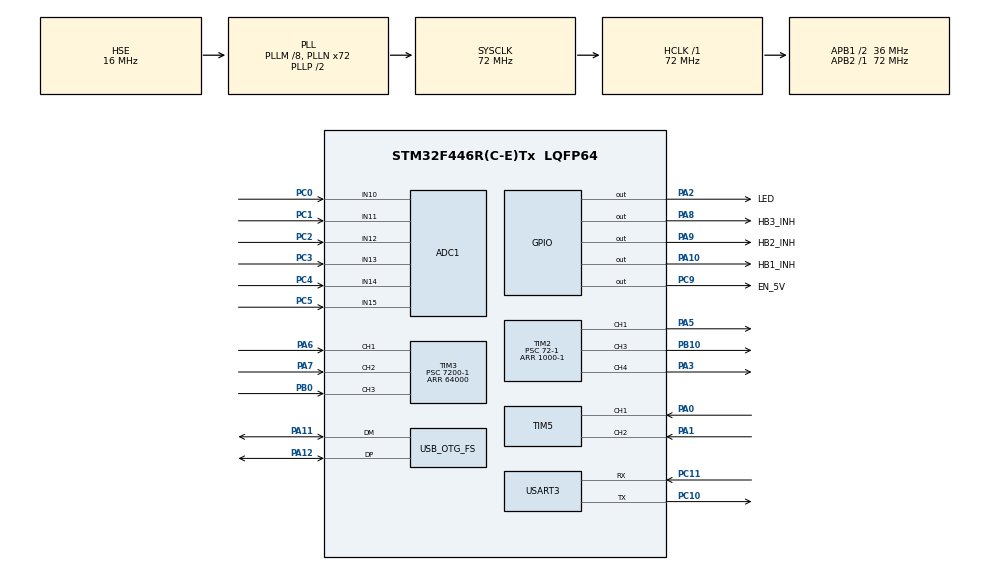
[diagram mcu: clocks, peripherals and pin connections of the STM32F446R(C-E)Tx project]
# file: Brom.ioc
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ADC1.Channel-0\#ChannelRegularConversion=ADC_CHANNEL_15
ADC1.NbrOfConversionFlag=1
ADC1.Rank-0\#ChannelRegularConversion=1
ADC1.SamplingTime-0\#ChannelRegularConversion=ADC_SAMPLETIME_3CYCLES
ADC1.master=1
Mcu.Family=STM32F4
Mcu.Name=STM32F446R(C-E)Tx
Mcu.Package=LQFP64
NVIC.OTG_FS_IRQn=true\:0\:0\:false\:false\:true\:false\:true\:true
NVIC.PriorityGroup=NVIC_PRIORITYGROUP_4
NVIC.TIM2_IRQn=true\:0\:0\:false\:false\:true\:true\:true\:true
NVIC.TIM3_IRQn=true\:0\:0\:false\:false\:true\:true\:true\:true
NVIC.TIM8_TRG_COM_TIM14_IRQn=true\:0\:0\:false\:false\:true\:true\:true\:true
PA0-WKUP.Signal=S_TIM5_CH1
PA1.Signal=S_TIM5_CH2
PA10.GPIO_Label=HB1_INH
PA10.GPIO_PuPd=GPIO_NOPULL
PA10.Signal=GPIO_Output
PA11.Mode=Device_Only
PA11.Signal=USB_OTG_FS_DM
PA12.Mode=Device_Only
PA12.Signal=USB_OTG_FS_DP
PA13.Mode=Trace_Asynchronous_SW
PA13.Signal=SYS_JTMS-SWDIO
PA14.Mode=Trace_Asynchronous_SW
PA14.Signal=SYS_JTCK-SWCLK
PA2.GPIO_Label=LED
PA2.GPIO_ModeDefaultOutputPP=GPIO_MODE_OUTPUT_PP
PA2.GPIO_PuPd=GPIO_NOPULL
PA2.GPIO_Speed=GPIO_SPEED_FREQ_VERY_HIGH
PA2.PinState=GPIO_PIN_SET
PA2.Signal=GPIO_Output
PA3.Signal=S_TIM2_CH4
PA5.Signal=S_TIM2_CH1_ETR
PA6.Signal=S_TIM3_CH1
PA7.Signal=S_TIM3_CH2
PA8.GPIO_Label=HB3_INH
PA8.Signal=GPIO_Output
PA9.GPIO_Label=HB2_INH
PA9.Signal=GPIO_Output
PB0.Signal=S_TIM3_CH3
PB10.Signal=S_TIM2_CH3
PB3.Mode=Trace_Asynchronous_SW
PB3.Signal=SYS_JTDO-SWO
PC0.Signal=ADCx_IN10
PC1.Signal=ADCx_IN11
PC10.Mode=Asynchronous
PC10.Signal=USART3_TX
PC11.Mode=Asynchronous
PC11.Signal=USART3_RX
PC2.Signal=ADCx_IN12
PC3.Signal=ADCx_IN13
PC4.Signal=ADCx_IN14
PC5.Signal=ADCx_IN15
PC9.GPIO_Label=EN_5V
PC9.GPIO_ModeDefaultOutputPP=GPIO_MODE_OUTPUT_OD
PC9.GPIO_PuPd=GPIO_PULLUP
PC9.GPIO_Speed=GPIO_SPEED_FREQ_LOW
PC9.PinState=GPIO_PIN_RESET
PC9.Signal=GPIO_Output
PH0-OSC_IN.Mode=HSE-External-Oscillator
PH0-OSC_IN.Signal=RCC_OSC_IN
PH1-OSC_OUT.Mode=HSE-External-Oscillator
PH1-OSC_OUT.Signal=RCC_OSC_OUT
ProjectManager.HeapSize=0x200
ProjectManager.StackSize=0x400
ProjectManager.TargetToolchain=STM32CubeIDE
RCC.AHBFreq_Value=72000000
RCC.APB1CLKDivider=RCC_HCLK_DIV2
RCC.APB1Freq_Value=36000000
RCC.APB1TimFreq_Value=72000000
RCC.APB2Freq_Value=72000000
RCC.APB2TimFreq_Value=72000000
RCC.CortexFreq_Value=72000000
RCC.HCLKFreq_Value=72000000
RCC.HSE_VALUE=16000000
RCC.PLLM=8
RCC.PLLN=72
RCC.PLLQ=3
RCC.PLLSourceVirtual=RCC_PLLSOURCE_HSE
RCC.SYSCLKFreq_VALUE=72000000
RCC.SYSCLKSource=RCC_SYSCLKSOURCE_PLLCLK
RCC.USBFreq_Value=48000000
RCC.VCOOutputFreq_Value=144000000
SH.ADCx_IN10.0=ADC1_IN10,IN10
SH.ADCx_IN11.0=ADC1_IN11,IN11
SH.ADCx_IN12.0=ADC1_IN12,IN12
SH.ADCx_IN13.0=ADC1_IN13,IN13
SH.ADCx_IN14.0=ADC1_IN14,IN14
SH.ADCx_IN15.0=ADC1_IN15,IN15
SH.S_TIM2_CH1_ETR.0=TIM2_CH1,PWM Generation1 CH1
SH.S_TIM2_CH3.0=TIM2_CH3,PWM Generation3 CH3
SH.S_TIM2_CH4.0=TIM2_CH4,PWM Generation4 CH4
SH.S_TIM3_CH1.0=TIM3_CH1,Input_Capture1_from_TI1
SH.S_TIM3_CH2.0=TIM3_CH2,Input_Capture2_from_TI2
SH.S_TIM3_CH3.0=TIM3_CH3,Input_Capture3_from_TI3
SH.S_TIM5_CH1.0=TIM5_CH1,Input_Capture1_from_TI1
SH.S_TIM5_CH2.0=TIM5_CH2,Input_Capture2_from_TI2
TIM14.Channel=TIM_CHANNEL_1
TIM2.Channel-PWM\ Generation1\ CH1=TIM_CHANNEL_1
TIM2.Channel-PWM\ Generation2\ No\ Output=TIM_CHANNEL_2
TIM2.Channel-PWM\ Generation3\ CH3=TIM_CHANNEL_3
TIM2.Channel-PWM\ Generation4\ CH4=TIM_CHANNEL_4
TIM2.Period=1000-1
TIM2.Prescaler=72-1
TIM2.Pulse-PWM\ Generation1\ CH1=500
TIM2.Pulse-PWM\ Generation2\ No\ Output=500
TIM2.Pulse-PWM\ Generation3\ CH3=500
TIM2.Pulse-PWM\ Generation4\ CH4=500
TIM3.AutoReloadPreload=TIM_AUTORELOAD_PRELOAD_ENABLE
TIM3.Channel-Input_Capture1_from_TI1=TIM_CHANNEL_1
TIM3.Channel-Input_Capture2_from_TI2=TIM_CHANNEL_2
TIM3.Channel-Input_Capture3_from_TI3=TIM_CHANNEL_3
TIM3.Period=64000
TIM3.Prescaler=7200-1
TIM3.TIM_MasterOutputTrigger=TIM_TRGO_OC2REF
TIM5.Channel-Input_Capture1_from_TI1=TIM_CHANNEL_1
TIM5.Channel-Input_Capture2_from_TI2=TIM_CHANNEL_2
USART3.VirtualMode=VM_ASYNC
USB_DEVICE.CLASS_NAME_FS=CDC
USB_DEVICE.VirtualMode-CDC_FS=Cdc
USB_DEVICE.VirtualModeFS=Cdc_FS
USB_OTG_FS.VirtualMode=Device_Only
VP_TIM14_VS_ClockSourceINT.Mode=Enable_Timer
VP_TIM14_VS_no_output1.Mode=PWM Generation1 No Output
VP_TIM2_VS_ClockSourceINT.Mode=Internal
VP_TIM2_VS_no_output2.Mode=PWM Generation2 No Output
VP_TIM3_VS_ClockSourceINT.Mode=Internal
VP_TIM5_VS_ClockSourceINT.Mode=Internal
VP_USB_DEVICE_VS_USB_DEVICE_CDC_FS.Mode=CDC_FS
board=custom

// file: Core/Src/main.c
/* USER CODE BEGIN Header */
/**
  ******************************************************************************
  * @file           : main.c
  * @brief          : Main program body
  ******************************************************************************
  * @attention
  *
  * <h2><center>&copy; Copyright (c) 2021 STMicroelectronics.
  * All rights reserved.</center></h2>
  *
  * This software component is licensed by ST under BSD 3-Clause license,
  * the "License"; You may not use this file except in compliance with the
  * License. You may obtain a copy of the License at:
  *                        opensource.org/licenses/BSD-3-Clause
  *
  ******************************************************************************
  */
/* USER CODE END Header */
#include "main.h"
#include "usb_device.h"

/* USER CODE BEGIN Includes */
#include "usbd_cdc_if.h"
#include "string.h"
#include "stdio.h"
#include "time.h"
#include "stdlib.h"
#include "measurement.h"
#include "control_state_machine.h"
#include "globals.h"

/* USER CODE END Includes */

ADC_HandleTypeDef hadc1;

TIM_HandleTypeDef htim2;
TIM_HandleTypeDef htim3;
TIM_HandleTypeDef htim5;
TIM_HandleTypeDef htim14;

UART_HandleTypeDef huart3;

/* USER CODE BEGIN PV */
int ramp_up(int duty_cycle, int counter, int count_max,int gain);

/* USER CODE END PV */

void SystemClock_Config(void);
static void MX_GPIO_Init(void);
static void MX_TIM2_Init(void);
static void MX_TIM3_Init(void);
static void MX_ADC1_Init(void);
static void MX_TIM5_Init(void);
static void MX_USART3_UART_Init(void);
static void MX_TIM14_Init(void);

/* USER CODE BEGIN 0 */
bool control_flag = FALSE;

/* USER CODE END 0 */

int main(void)
{
  /* USER CODE BEGIN 1 */
	controlStateMachine.currentState = off;
	inverter.EN_5V = FALSE;

	inverter.PhaseA.gpioPin_pha_enable.pinNUmber = HB1_INH_Pin;
	inverter.PhaseA.gpioPin_pha_enable.port = HB1_INH_GPIO_Port;
	strcpy(inverter.PhaseA.name,"PhaseA");

	inverter.PhaseB.gpioPin_pha_enable.pinNUmber = HB2_INH_Pin;
	inverter.PhaseB.gpioPin_pha_enable.port = HB2_INH_GPIO_Port;
	strcpy(inverter.PhaseB.name,"PhaseB");

	inverter.PhaseC.gpioPin_pha_enable.pinNUmber = HB3_INH_Pin;
	inverter.PhaseC.gpioPin_pha_enable.port = HB3_INH_GPIO_Port;
	strcpy(inverter.PhaseC.name,"PhaseC");

  /* USER CODE END 1 */

  /* MCU Configuration--------------------------------------------------------*/

  /* Reset of all peripherals, Initializes the Flash interface and the Systick. */
  HAL_Init();

  /* Configure the system clock */
  SystemClock_Config();

  /* Initialize all configured peripherals */
  MX_GPIO_Init();
  MX_TIM2_Init();
  MX_TIM3_Init();
  MX_ADC1_Init();
  MX_TIM5_Init();
  MX_USART3_UART_Init();
  MX_USB_DEVICE_Init();
  MX_TIM14_Init();
  /* USER CODE BEGIN 2 */

  // STart timer
  srand(time(NULL));

  HAL_TIM_PWM_Start(&htim2, TIM_CHANNEL_3);
  HAL_TIM_PWM_Start(&htim2, TIM_CHANNEL_1);
  HAL_TIM_PWM_Start(&htim2, TIM_CHANNEL_4);
  HAL_TIM_PWM_Start_IT(&htim2, TIM_CHANNEL_2);
 // HAL_TIM_PWM_Start_IT(&htim2, TIM_CHANNEL_3);
  //HAL_TIM_OC_Start(&htim2, TIM_CHANNEL_3);
  /*
  HAL_TIM_PWM_Start(&htim2, TIM_CHANNEL_1);
  HAL_TIM_PWM_Start_IT(&htim2, TIM_CHANNEL_1);
  HAL_TIM_OC_Start(&htim2, TIM_CHANNEL_2);

  HAL_TIM_PWM_Start(&htim2, TIM_CHANNEL_2);
  HAL_TIM_PWM_Start_IT(&htim2, TIM_CHANNEL_2);
  HAL_TIM_OC_Start(&htim2, TIM_CHANNEL_2);

  HAL_TIM_PWM_Start(&htim2, TIM_CHANNEL_4);
  HAL_TIM_PWM_Start_IT(&htim2, TIM_CHANNEL_4);
  HAL_TIM_OC_Start(&htim2, TIM_CHANNEL_4);

  HAL_TIM_IC_Start_IT(&htim3, TIM_CHANNEL_1);
  */
  char result[100];
  /* USER CODE END 2 */

  /* Infinite loop */
  while (1)
  {

    /* USER CODE BEGIN 3 */

	  if (controlState == controlStateMachine.currentState)
	  {

	  } else {
		  transitionToState(&controlStateMachine, controlState);

	  }
	  if (!control_enabled && control_flag ){
		  __HAL_TIM_SET_COMPARE(&htim2,TIM_CHANNEL_1,0);
		  __HAL_TIM_SET_COMPARE(&htim2,TIM_CHANNEL_3,0);
		  __HAL_TIM_SET_COMPARE(&htim2,TIM_CHANNEL_4,0);
		  transitionphaMode(FALSE,inverter.PhaseA);
		  transitionphaMode(FALSE,inverter.PhaseB);
		  transitionphaMode(FALSE,inverter.PhaseC);

		  char dataToSend[] = "CONTROL DISABLED!\r\n";
		  snprintf(result, sizeof(result),"%s",dataToSend);
		  CDC_Transmit_FS((uint8_t *)result,strlen(result));

		  control_flag = FALSE;
	  }

	  if (init){
		  initInverter(inverter);
	  }
	  HAL_Delay(1000);
	  HAL_GPIO_TogglePin(LED_GPIO_Port, LED_Pin);

  }
  /* USER CODE END 3 */
}

void SystemClock_Config(void)
{
  RCC_OscInitTypeDef RCC_OscInitStruct = {0};
  RCC_ClkInitTypeDef RCC_ClkInitStruct = {0};

  /** Configure the main internal regulator output voltage
  */
  __HAL_RCC_PWR_CLK_ENABLE();
  __HAL_PWR_VOLTAGESCALING_CONFIG(PWR_REGULATOR_VOLTAGE_SCALE3);

  /** Initializes the RCC Oscillators according to the specified parameters
  * in the RCC_OscInitTypeDef structure.
  */
  RCC_OscInitStruct.OscillatorType = RCC_OSCILLATORTYPE_HSE;
  RCC_OscInitStruct.HSEState = RCC_HSE_ON;
  RCC_OscInitStruct.PLL.PLLState = RCC_PLL_ON;
  RCC_OscInitStruct.PLL.PLLSource = RCC_PLLSOURCE_HSE;
  RCC_OscInitStruct.PLL.PLLM = 8;
  RCC_OscInitStruct.PLL.PLLN = 72;
  RCC_OscInitStruct.PLL.PLLP = RCC_PLLP_DIV2;
  RCC_OscInitStruct.PLL.PLLQ = 3;
  RCC_OscInitStruct.PLL.PLLR = 2;
  if (HAL_RCC_OscConfig(&RCC_OscInitStruct) != HAL_OK)
  {
    Error_Handler();
  }

  /** Initializes the CPU, AHB and APB buses clocks
  */
  RCC_ClkInitStruct.ClockType = RCC_CLOCKTYPE_HCLK|RCC_CLOCKTYPE_SYSCLK
                              |RCC_CLOCKTYPE_PCLK1|RCC_CLOCKTYPE_PCLK2;
  RCC_ClkInitStruct.SYSCLKSource = RCC_SYSCLKSOURCE_PLLCLK;
  RCC_ClkInitStruct.AHBCLKDivider = RCC_SYSCLK_DIV1;
  RCC_ClkInitStruct.APB1CLKDivider = RCC_HCLK_DIV2;
  RCC_ClkInitStruct.APB2CLKDivider = RCC_HCLK_DIV1;

  if (HAL_RCC_ClockConfig(&RCC_ClkInitStruct, FLASH_LATENCY_2) != HAL_OK)
  {
    Error_Handler();
  }
}

static void MX_ADC1_Init(void)
{

  ADC_ChannelConfTypeDef sConfig = {0};

  /** Configure the global features of the ADC (Clock, Resolution, Data Alignment and number of conversion)
  */
  hadc1.Instance = ADC1;
  hadc1.Init.ClockPrescaler = ADC_CLOCK_SYNC_PCLK_DIV2;
  hadc1.Init.Resolution = ADC_RESOLUTION_12B;
  hadc1.Init.ScanConvMode = DISABLE;
  hadc1.Init.ContinuousConvMode = DISABLE;
  hadc1.Init.DiscontinuousConvMode = DISABLE;
  hadc1.Init.ExternalTrigConvEdge = ADC_EXTERNALTRIGCONVEDGE_NONE;
  hadc1.Init.ExternalTrigConv = ADC_SOFTWARE_START;
  hadc1.Init.DataAlign = ADC_DATAALIGN_RIGHT;
  hadc1.Init.NbrOfConversion = 1;
  hadc1.Init.DMAContinuousRequests = DISABLE;
  hadc1.Init.EOCSelection = ADC_EOC_SINGLE_CONV;
  if (HAL_ADC_Init(&hadc1) != HAL_OK)
  {
    Error_Handler();
  }

  /** Configure for the selected ADC regular channel its corresponding rank in the sequencer and its sample time.
  */
  sConfig.Channel = ADC_CHANNEL_15;
  sConfig.Rank = 1;
  sConfig.SamplingTime = ADC_SAMPLETIME_3CYCLES;
  if (HAL_ADC_ConfigChannel(&hadc1, &sConfig) != HAL_OK)
  {
    Error_Handler();
  }

}

static void MX_TIM2_Init(void)
{

  TIM_ClockConfigTypeDef sClockSourceConfig = {0};
  TIM_MasterConfigTypeDef sMasterConfig = {0};
  TIM_OC_InitTypeDef sConfigOC = {0};

  htim2.Instance = TIM2;
  htim2.Init.Prescaler = 72-1;
  htim2.Init.CounterMode = TIM_COUNTERMODE_UP;
  htim2.Init.Period = 1000-1;
  htim2.Init.ClockDivision = TIM_CLOCKDIVISION_DIV1;
  htim2.Init.AutoReloadPreload = TIM_AUTORELOAD_PRELOAD_DISABLE;
  if (HAL_TIM_Base_Init(&htim2) != HAL_OK)
  {
    Error_Handler();
  }
  sClockSourceConfig.ClockSource = TIM_CLOCKSOURCE_INTERNAL;
  if (HAL_TIM_ConfigClockSource(&htim2, &sClockSourceConfig) != HAL_OK)
  {
    Error_Handler();
  }
  if (HAL_TIM_PWM_Init(&htim2) != HAL_OK)
  {
    Error_Handler();
  }
  sMasterConfig.MasterOutputTrigger = TIM_TRGO_RESET;
  sMasterConfig.MasterSlaveMode = TIM_MASTERSLAVEMODE_DISABLE;
  if (HAL_TIMEx_MasterConfigSynchronization(&htim2, &sMasterConfig) != HAL_OK)
  {
    Error_Handler();
  }
  sConfigOC.OCMode = TIM_OCMODE_PWM1;
  sConfigOC.Pulse = 500;
  sConfigOC.OCPolarity = TIM_OCPOLARITY_HIGH;
  sConfigOC.OCFastMode = TIM_OCFAST_DISABLE;
  if (HAL_TIM_PWM_ConfigChannel(&htim2, &sConfigOC, TIM_CHANNEL_1) != HAL_OK)
  {
    Error_Handler();
  }
  if (HAL_TIM_PWM_ConfigChannel(&htim2, &sConfigOC, TIM_CHANNEL_2) != HAL_OK)
  {
    Error_Handler();
  }
  if (HAL_TIM_PWM_ConfigChannel(&htim2, &sConfigOC, TIM_CHANNEL_3) != HAL_OK)
  {
    Error_Handler();
  }
  if (HAL_TIM_PWM_ConfigChannel(&htim2, &sConfigOC, TIM_CHANNEL_4) != HAL_OK)
  {
    Error_Handler();
  }
  HAL_TIM_MspPostInit(&htim2);

}

static void MX_TIM3_Init(void)
{

  TIM_ClockConfigTypeDef sClockSourceConfig = {0};
  TIM_MasterConfigTypeDef sMasterConfig = {0};
  TIM_IC_InitTypeDef sConfigIC = {0};

  htim3.Instance = TIM3;
  htim3.Init.Prescaler = 7200-1;
  htim3.Init.CounterMode = TIM_COUNTERMODE_UP;
  htim3.Init.Period = 64000;
  htim3.Init.ClockDivision = TIM_CLOCKDIVISION_DIV1;
  htim3.Init.AutoReloadPreload = TIM_AUTORELOAD_PRELOAD_ENABLE;
  if (HAL_TIM_Base_Init(&htim3) != HAL_OK)
  {
    Error_Handler();
  }
  sClockSourceConfig.ClockSource = TIM_CLOCKSOURCE_INTERNAL;
  if (HAL_TIM_ConfigClockSource(&htim3, &sClockSourceConfig) != HAL_OK)
  {
    Error_Handler();
  }
  if (HAL_TIM_IC_Init(&htim3) != HAL_OK)
  {
    Error_Handler();
  }
  sMasterConfig.MasterOutputTrigger = TIM_TRGO_OC2REF;
  sMasterConfig.MasterSlaveMode = TIM_MASTERSLAVEMODE_DISABLE;
  if (HAL_TIMEx_MasterConfigSynchronization(&htim3, &sMasterConfig) != HAL_OK)
  {
    Error_Handler();
  }
  sConfigIC.ICPolarity = TIM_INPUTCHANNELPOLARITY_RISING;
  sConfigIC.ICSelection = TIM_ICSELECTION_DIRECTTI;
  sConfigIC.ICPrescaler = TIM_ICPSC_DIV1;
  sConfigIC.ICFilter = 0;
  if (HAL_TIM_IC_ConfigChannel(&htim3, &sConfigIC, TIM_CHANNEL_1) != HAL_OK)
  {
    Error_Handler();
  }
  if (HAL_TIM_IC_ConfigChannel(&htim3, &sConfigIC, TIM_CHANNEL_2) != HAL_OK)
  {
    Error_Handler();
  }
  if (HAL_TIM_IC_ConfigChannel(&htim3, &sConfigIC, TIM_CHANNEL_3) != HAL_OK)
  {
    Error_Handler();
  }

}

static void MX_TIM5_Init(void)
{

  TIM_ClockConfigTypeDef sClockSourceConfig = {0};
  TIM_MasterConfigTypeDef sMasterConfig = {0};
  TIM_IC_InitTypeDef sConfigIC = {0};

  htim5.Instance = TIM5;
  htim5.Init.Prescaler = 0;
  htim5.Init.CounterMode = TIM_COUNTERMODE_UP;
  htim5.Init.Period = 4294967295;
  htim5.Init.ClockDivision = TIM_CLOCKDIVISION_DIV1;
  htim5.Init.AutoReloadPreload = TIM_AUTORELOAD_PRELOAD_DISABLE;
  if (HAL_TIM_Base_Init(&htim5) != HAL_OK)
  {
    Error_Handler();
  }
  sClockSourceConfig.ClockSource = TIM_CLOCKSOURCE_INTERNAL;
  if (HAL_TIM_ConfigClockSource(&htim5, &sClockSourceConfig) != HAL_OK)
  {
    Error_Handler();
  }
  if (HAL_TIM_IC_Init(&htim5) != HAL_OK)
  {
    Error_Handler();
  }
  sMasterConfig.MasterOutputTrigger = TIM_TRGO_RESET;
  sMasterConfig.MasterSlaveMode = TIM_MASTERSLAVEMODE_DISABLE;
  if (HAL_TIMEx_MasterConfigSynchronization(&htim5, &sMasterConfig) != HAL_OK)
  {
    Error_Handler();
  }
  sConfigIC.ICPolarity = TIM_INPUTCHANNELPOLARITY_RISING;
  sConfigIC.ICSelection = TIM_ICSELECTION_DIRECTTI;
  sConfigIC.ICPrescaler = TIM_ICPSC_DIV1;
  sConfigIC.ICFilter = 0;
  if (HAL_TIM_IC_ConfigChannel(&htim5, &sConfigIC, TIM_CHANNEL_1) != HAL_OK)
  {
    Error_Handler();
  }
  if (HAL_TIM_IC_ConfigChannel(&htim5, &sConfigIC, TIM_CHANNEL_2) != HAL_OK)
  {
    Error_Handler();
  }

}

static void MX_TIM14_Init(void)
{

  TIM_OC_InitTypeDef sConfigOC = {0};

  htim14.Instance = TIM14;
  htim14.Init.Prescaler = 0;
  htim14.Init.CounterMode = TIM_COUNTERMODE_UP;
  htim14.Init.Period = 65535;
  htim14.Init.ClockDivision = TIM_CLOCKDIVISION_DIV1;
  htim14.Init.AutoReloadPreload = TIM_AUTORELOAD_PRELOAD_DISABLE;
  if (HAL_TIM_Base_Init(&htim14) != HAL_OK)
  {
    Error_Handler();
  }
  if (HAL_TIM_PWM_Init(&htim14) != HAL_OK)
  {
    Error_Handler();
  }
  sConfigOC.OCMode = TIM_OCMODE_PWM1;
  sConfigOC.Pulse = 0;
  sConfigOC.OCPolarity = TIM_OCPOLARITY_HIGH;
  sConfigOC.OCFastMode = TIM_OCFAST_DISABLE;
  if (HAL_TIM_PWM_ConfigChannel(&htim14, &sConfigOC, TIM_CHANNEL_1) != HAL_OK)
  {
    Error_Handler();
  }

}

static void MX_USART3_UART_Init(void)
{

  huart3.Instance = USART3;
  huart3.Init.BaudRate = 115200;
  huart3.Init.WordLength = UART_WORDLENGTH_8B;
  huart3.Init.StopBits = UART_STOPBITS_1;
  huart3.Init.Parity = UART_PARITY_NONE;
  huart3.Init.Mode = UART_MODE_TX_RX;
  huart3.Init.HwFlowCtl = UART_HWCONTROL_NONE;
  huart3.Init.OverSampling = UART_OVERSAMPLING_16;
  if (HAL_UART_Init(&huart3) != HAL_OK)
  {
    Error_Handler();
  }

}

static void MX_GPIO_Init(void)
{
  GPIO_InitTypeDef GPIO_InitStruct = {0};

  /* GPIO Ports Clock Enable */
  __HAL_RCC_GPIOH_CLK_ENABLE();
  __HAL_RCC_GPIOC_CLK_ENABLE();
  __HAL_RCC_GPIOA_CLK_ENABLE();
  __HAL_RCC_GPIOB_CLK_ENABLE();

  /*Configure GPIO pin Output Level */
  HAL_GPIO_WritePin(LED_GPIO_Port, LED_Pin, GPIO_PIN_SET);

  /*Configure GPIO pin Output Level */
  HAL_GPIO_WritePin(EN_5V_GPIO_Port, EN_5V_Pin, GPIO_PIN_RESET);

  /*Configure GPIO pin Output Level */
  HAL_GPIO_WritePin(GPIOA, HB3_INH_Pin|HB2_INH_Pin|HB1_INH_Pin, GPIO_PIN_RESET);

  /*Configure GPIO pin : LED_Pin */
  GPIO_InitStruct.Pin = LED_Pin;
  GPIO_InitStruct.Mode = GPIO_MODE_OUTPUT_PP;
  GPIO_InitStruct.Pull = GPIO_NOPULL;
  GPIO_InitStruct.Speed = GPIO_SPEED_FREQ_VERY_HIGH;
  HAL_GPIO_Init(LED_GPIO_Port, &GPIO_InitStruct);

  /*Configure GPIO pin : EN_5V_Pin */
  GPIO_InitStruct.Pin = EN_5V_Pin;
  GPIO_InitStruct.Mode = GPIO_MODE_OUTPUT_OD;
  GPIO_InitStruct.Pull = GPIO_PULLUP;
  GPIO_InitStruct.Speed = GPIO_SPEED_FREQ_LOW;
  HAL_GPIO_Init(EN_5V_GPIO_Port, &GPIO_InitStruct);

  /*Configure GPIO pins : HB3_INH_Pin HB2_INH_Pin HB1_INH_Pin */
  GPIO_InitStruct.Pin = HB3_INH_Pin|HB2_INH_Pin|HB1_INH_Pin;
  GPIO_InitStruct.Mode = GPIO_MODE_OUTPUT_PP;
  GPIO_InitStruct.Pull = GPIO_NOPULL;
  GPIO_InitStruct.Speed = GPIO_SPEED_FREQ_LOW;
  HAL_GPIO_Init(GPIOA, &GPIO_InitStruct);

}

/* USER CODE BEGIN 4 */

void HAL_TIM_PWM_PulseFinishedCallback(TIM_HandleTypeDef *htim)
{

	if(htim->Instance == TIM2){
		if (control_enabled){
			control();

		}
	}
	/*int duty_cycle = 10;
	if (htim == &htim2)
	{
		duty_cycle = __HAL_TIM_GET_COMPARE(&htim2,TIM_CHANNEL_1);

		if (duty_cycle < 2400-1-10)
		{
			duty_cycle = duty_cycle +1;
		}else
		{
			duty_cycle = 10;
		}

		//__HAL_TIM_SET_COMPARE(&htim2,TIM_CHANNEL_1,r);
		__HAL_TIM_SET_COMPARE(&htim2,TIM_CHANNEL_1,duty_cycle);
	}
*/
}
void HAL_TIM_IC_CaptureHalfCpltCallback(TIM_HandleTypeDef *htim)
{

}

void HAL_TIM_PeriodElapsedCallback(TIM_HandleTypeDef *htim)
{
	if(htim->Instance == TIM2){
		//scontrol();
	}

}

int ramp_up(int duty_cycle, int counter,int count_max,int gain){
	int calc = 0;
	if (counter <= (int)(count_max/2)){
		calc= 2*gain*counter + (duty_cycle-(gain*count_max));

	}else{
		calc= -2*gain*counter + (duty_cycle+(gain*count_max));
	}

	return calc;
}
void control(void){
	int duty_cycle = 200;
	int max_count = 25;
	int gain = 1;
	if (step == 1){
		transitionphaMode(TRUE,inverter.PhaseA);
		transitionphaMode(FALSE,inverter.PhaseB);
		transitionphaMode(TRUE,inverter.PhaseC);
		__HAL_TIM_SET_COMPARE(&htim2,TIM_CHANNEL_4,0);
		__HAL_TIM_SET_COMPARE(&htim2,TIM_CHANNEL_1,0);
		__HAL_TIM_SET_COMPARE(&htim2,TIM_CHANNEL_3,ramp_up(duty_cycle,counter,max_count,gain));
	}
	if (step == 2){
		transitionphaMode(FALSE,inverter.PhaseA);
		transitionphaMode(TRUE,inverter.PhaseB);
		transitionphaMode(TRUE,inverter.PhaseC);
		__HAL_TIM_SET_COMPARE(&htim2,TIM_CHANNEL_3,0);
		__HAL_TIM_SET_COMPARE(&htim2,TIM_CHANNEL_4,0);
		__HAL_TIM_SET_COMPARE(&htim2,TIM_CHANNEL_1,ramp_up(duty_cycle,counter,max_count,gain));
	}
	if (step == 3){
		transitionphaMode(TRUE,inverter.PhaseA);
		transitionphaMode(TRUE,inverter.PhaseB);
		transitionphaMode(FALSE,inverter.PhaseC);
		__HAL_TIM_SET_COMPARE(&htim2,TIM_CHANNEL_1,ramp_up(duty_cycle,counter,max_count,gain));
		__HAL_TIM_SET_COMPARE(&htim2,TIM_CHANNEL_3,0);
		__HAL_TIM_SET_COMPARE(&htim2,TIM_CHANNEL_4,0);
	}
	if (step == 4){
		transitionphaMode(TRUE,inverter.PhaseA);
		transitionphaMode(FALSE,inverter.PhaseB);
		transitionphaMode(TRUE,inverter.PhaseC);
		__HAL_TIM_SET_COMPARE(&htim2,TIM_CHANNEL_1,0);
		__HAL_TIM_SET_COMPARE(&htim2,TIM_CHANNEL_3,0);
		__HAL_TIM_SET_COMPARE(&htim2,TIM_CHANNEL_4,ramp_up(duty_cycle,counter,max_count,gain));
	}
	if (step == 5){
		transitionphaMode(FALSE,inverter.PhaseA);
		transitionphaMode(TRUE,inverter.PhaseB);
		transitionphaMode(TRUE,inverter.PhaseC);
		__HAL_TIM_SET_COMPARE(&htim2,TIM_CHANNEL_1,0);
		__HAL_TIM_SET_COMPARE(&htim2,TIM_CHANNEL_3,0);
		__HAL_TIM_SET_COMPARE(&htim2,TIM_CHANNEL_4,ramp_up(duty_cycle,counter,max_count,gain));
	}
	if (step == 6){
		transitionphaMode(TRUE,inverter.PhaseA);
		transitionphaMode(TRUE,inverter.PhaseB);
		transitionphaMode(FALSE,inverter.PhaseC);
		__HAL_TIM_SET_COMPARE(&htim2,TIM_CHANNEL_1,0);
		__HAL_TIM_SET_COMPARE(&htim2,TIM_CHANNEL_3,ramp_up(duty_cycle,counter,max_count,gain));
		__HAL_TIM_SET_COMPARE(&htim2,TIM_CHANNEL_4,0);
	}
	counter = counter +1;

	if (counter == max_count){
		step = step +1;
		counter = 0;
	}
	if (step >=7){
		step =1;
	}

	control_flag=TRUE;
}

/* USER CODE END 4 */

void Error_Handler(void)
{
  __disable_irq();
  while (1)
  {
  }
}
